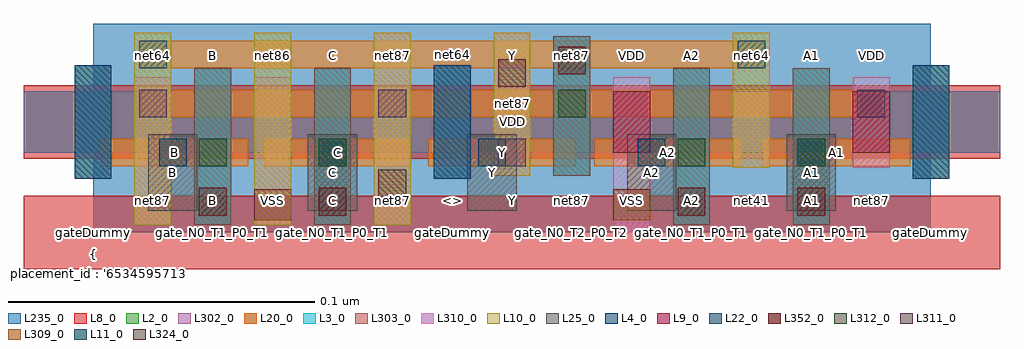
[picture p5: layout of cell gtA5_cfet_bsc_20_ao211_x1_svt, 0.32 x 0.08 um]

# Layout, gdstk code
import gdstk
lib = gdstk.Library(unit=1e-6, precision=2.5e-10)
def R(c, l, rs):  # rectangles x0, y0, x1, y1
    for r in rs: c.add(gdstk.rectangle(r[:2], r[2:], *l))
def A(c, l, x, y, w, h, nx, ny, dx, dy):  # array of equal rectangles
    R(c, l, [(x+i*dx, y+j*dy, x+i*dx+w, y+j*dy+h) for i in range(nx) for j in range(ny)])
L2_0 = (2, 0)
L3_0 = (3, 0)
L4_0 = (4, 0)
L8_0 = (8, 0)
L9_0 = (9, 0)
L10_0 = (10, 0)
L11_0 = (11, 0)
L20_0 = (20, 0)
L22_0 = (22, 0)
L25_0 = (25, 0)
L235_0 = (235, 0)
L302_0 = (302, 0)
L303_0 = (303, 0)
L309_0 = (309, 0)
L310_0 = (310, 0)
L311_0 = (311, 0)
L312_0 = (312, 0)
L324_0 = (324, 0)
L352_0 = (352, 0)

gta5_cfet_bsc_20_ao211_x = lib.new_cell('gtA5_cfet_bsc_20_ao211_x1_svt')
R(gta5_cfet_bsc_20_ao211_x, L2_0, [(-0.0225,0.026,0.2955,0.046)])
R(gta5_cfet_bsc_20_ao211_x, L3_0, [(0.033,0.0025,0.045,0.0535), (0.072,0.0025,0.084,0.0535), (0.189,0.0025,0.201,0.0535), (0.228,0.0025,0.24,0.0535), (-0.006,0.0175,0.006,0.0545), (0.111,0.0175,0.123,0.0545), (0.267,0.0175,0.279,0.0545), (0.15,0.0185,0.162,0.064)])
R(gta5_cfet_bsc_20_ao211_x, L4_0, [(-0.006,0.0175,0.006,0.0545), (0.111,0.0175,0.123,0.0545), (0.267,0.0175,0.279,0.0545)])
R(gta5_cfet_bsc_20_ao211_x, L8_0, [(-0.0225,-0.012,0.2955,0.012), (-0.0225,0.024,0.2955,0.048)])
R(gta5_cfet_bsc_20_ao211_x, L9_0, [(0.1695,0.026,0.1815,0.046), (0.2475,0.026,0.2595,0.046)])
A(gta5_cfet_bsc_20_ao211_x, L10_0, 0.0135, 0.0025, 0.012, 0.0625, 3, 1, 0.039, 0)
R(gta5_cfet_bsc_20_ao211_x, L10_0, [(0.1305,0.0185,0.1425,0.065), (0.2085,0.021,0.2205,0.065)])
R(gta5_cfet_bsc_20_ao211_x, L11_0, [(0.015,0.0535,0.024,0.0625), (0.21,0.0535,0.219,0.0625)])
R(gta5_cfet_bsc_20_ao211_x, L20_0, [(0.0025,0.0215,0.0505,0.0305), (0.0558,0.0215,0.1038,0.0305), (0.1092,0.0215,0.1573,0.0305), (0.1633,0.0215,0.2112,0.0305), (0.2182,0.0215,0.2662,0.0305), (0.015,0.0375,0.258,0.0465), (0.015,0.0535,0.219,0.0625)])
A(gta5_cfet_bsc_20_ao211_x, L22_0, 0.0215, 0.0215, 0.009, 0.009, 5, 1, 0.052, 0)
A(gta5_cfet_bsc_20_ao211_x, L25_0, 0.018, 0.007, 0.016, 0.025, 5, 1, 0.052, 0)
R(gta5_cfet_bsc_20_ao211_x, L235_0, [(0,0,0.273,0.068)])
R(gta5_cfet_bsc_20_ao211_x, L302_0, [(-0.0225,0.026,0.2955,0.046)])
R(gta5_cfet_bsc_20_ao211_x, L303_0, [(0.033,0.0025,0.045,0.0535), (0.072,0.0025,0.084,0.0535), (0.189,0.0025,0.201,0.0535), (0.228,0.0025,0.24,0.0535), (-0.006,0.0175,0.006,0.0545), (0.111,0.0175,0.123,0.0545), (0.267,0.0175,0.279,0.0545), (0.15,0.0185,0.162,0.064)])
R(gta5_cfet_bsc_20_ao211_x, L309_0, [(0.0525,0.004,0.0645,0.014), (0.1695,0.004,0.1815,0.014)])
R(gta5_cfet_bsc_20_ao211_x, L310_0, [(0.1695,0,0.1815,0.0505), (0.0135,0.0025,0.0255,0.0505), (0.0525,0.0025,0.0645,0.0505), (0.0915,0.0025,0.1035,0.065), (0.1305,0.0185,0.1425,0.065), (0.2085,0.021,0.2205,0.046), (0.2475,0.021,0.2595,0.0505)])
R(gta5_cfet_bsc_20_ao211_x, L311_0, [(0.132,0.0215,0.141,0.0305), (0.015,0.0375,0.024,0.0465), (0.093,0.0375,0.102,0.0465), (0.249,0.0375,0.258,0.0465)])
R(gta5_cfet_bsc_20_ao211_x, L312_0, [(0.0345,0.0215,0.0435,0.0305), (0.0735,0.0215,0.0825,0.0305), (0.1905,0.0215,0.1995,0.0305), (0.2295,0.0215,0.2385,0.0305), (0.1515,0.0375,0.1605,0.0465)])
R(gta5_cfet_bsc_20_ao211_x, L324_0, [(0.093,0.0115,0.102,0.0205), (0.132,0.0475,0.141,0.0565)])
R(gta5_cfet_bsc_20_ao211_x, L352_0, [(0.0345,0.0055,0.0435,0.0145), (0.0735,0.0055,0.0825,0.0145), (0.1905,0.0055,0.1995,0.0145), (0.2295,0.0055,0.2385,0.0145), (0.1515,0.0515,0.1605,0.0605)])
gta5_cfet_bsc_20_ao211_x.add(gdstk.Label('B', (0.0265,0.026), layer=100, texttype=100))
gta5_cfet_bsc_20_ao211_x.add(gdstk.Label('C', (0.0798,0.026), layer=100, texttype=100))
gta5_cfet_bsc_20_ao211_x.add(gdstk.Label('Y', (0.1333,0.026), layer=100, texttype=100))
gta5_cfet_bsc_20_ao211_x.add(gdstk.Label('A2', (0.1872,0.026), layer=100, texttype=100))
gta5_cfet_bsc_20_ao211_x.add(gdstk.Label('A1', (0.2422,0.026), layer=100, texttype=100))
gta5_cfet_bsc_20_ao211_x.add(gdstk.Label('net87', (0.1365,0.042), layer=100, texttype=100))
gta5_cfet_bsc_20_ao211_x.add(gdstk.Label('net64', (0.117,0.058), layer=100, texttype=100))
gta5_cfet_bsc_20_ao211_x.add(gdstk.Label('gateDummy', (0,0), layer=103, texttype=103))
gta5_cfet_bsc_20_ao211_x.add(gdstk.Label('sd_N0_T2_P0_T3', (0.0195,0), layer=103, texttype=103))
gta5_cfet_bsc_20_ao211_x.add(gdstk.Label('gate_N0_T1_P0_T1', (0.039,0), layer=103, texttype=103))
gta5_cfet_bsc_20_ao211_x.add(gdstk.Label('sd_N0_VSS', (0.0585,0), layer=103, texttype=103))
gta5_cfet_bsc_20_ao211_x.add(gdstk.Label('gate_N0_T1_P0_T1', (0.078,0), layer=103, texttype=103))
gta5_cfet_bsc_20_ao211_x.add(gdstk.Label('sd_N0_T2_P0_T2', (0.0975,0), layer=103, texttype=103))
gta5_cfet_bsc_20_ao211_x.add(gdstk.Label('gateDummy', (0.117,0), layer=103, texttype=103))
gta5_cfet_bsc_20_ao211_x.add(gdstk.Label('sd_N0_T1_P0_T1', (0.1365,0), layer=103, texttype=103))
gta5_cfet_bsc_20_ao211_x.add(gdstk.Label('gate_N0_T2_P0_T2', (0.156,0), layer=103, texttype=103))
gta5_cfet_bsc_20_ao211_x.add(gdstk.Label('sd_N0_VSS_P0_VDD', (0.1755,0), layer=103, texttype=103))
gta5_cfet_bsc_20_ao211_x.add(gdstk.Label('gate_N0_T1_P0_T1', (0.195,0), layer=103, texttype=103))
gta5_cfet_bsc_20_ao211_x.add(gdstk.Label('sd_N0_abut_P0_T3', (0.2145,0), layer=103, texttype=103))
gta5_cfet_bsc_20_ao211_x.add(gdstk.Label('gate_N0_T1_P0_T1', (0.234,0), layer=103, texttype=103))
gta5_cfet_bsc_20_ao211_x.add(gdstk.Label('sd_N0_T2_P0_VDD', (0.2535,0), layer=103, texttype=103))
gta5_cfet_bsc_20_ao211_x.add(gdstk.Label('gateDummy', (0.273,0), layer=103, texttype=103))
gta5_cfet_bsc_20_ao211_x.add(gdstk.Label('}', (0,-0.0742), layer=104, texttype=104))
gta5_cfet_bsc_20_ao211_x.add(gdstk.Label('  power : None', (0,-0.0675), layer=104, texttype=104))
gta5_cfet_bsc_20_ao211_x.add(gdstk.Label('  performance : None', (0,-0.0607), layer=104, texttype=104))
gta5_cfet_bsc_20_ao211_x.add(gdstk.Label("  solution_hash : '4297158945955525215'", (0,-0.054), layer=104, texttype=104))
gta5_cfet_bsc_20_ao211_x.add(gdstk.Label('  number_m2 : 0', (0,-0.0473), layer=104, texttype=104))
gta5_cfet_bsc_20_ao211_x.add(gdstk.Label('  number_m1 : 5', (0,-0.0405), layer=104, texttype=104))
gta5_cfet_bsc_20_ao211_x.add(gdstk.Label('  number_m0cuts : 0', (0,-0.0338), layer=104, texttype=104))
gta5_cfet_bsc_20_ao211_x.add(gdstk.Label('  number_m0 : 7', (0,-0.027), layer=104, texttype=104))
gta5_cfet_bsc_20_ao211_x.add(gdstk.Label("  solution_number : '0000'", (0,-0.0203), layer=104, texttype=104))
gta5_cfet_bsc_20_ao211_x.add(gdstk.Label("  placement_id : '6534595713075289968'", (0,-0.0135), layer=104, texttype=104))
gta5_cfet_bsc_20_ao211_x.add(gdstk.Label('{', (0,-0.0067), layer=104, texttype=104))
gta5_cfet_bsc_20_ao211_x.add(gdstk.Label('net87', (0.0195,0.0103), layer=105, texttype=105))
gta5_cfet_bsc_20_ao211_x.add(gdstk.Label('B', (0.039,0.0103), layer=105, texttype=105))
gta5_cfet_bsc_20_ao211_x.add(gdstk.Label('VSS', (0.0585,0.0103), layer=105, texttype=105))
gta5_cfet_bsc_20_ao211_x.add(gdstk.Label('C', (0.078,0.0103), layer=105, texttype=105))
gta5_cfet_bsc_20_ao211_x.add(gdstk.Label('net87', (0.0975,0.0103), layer=105, texttype=105))
gta5_cfet_bsc_20_ao211_x.add(gdstk.Label('<>', (0.117,0.0103), layer=105, texttype=105))
gta5_cfet_bsc_20_ao211_x.add(gdstk.Label('Y', (0.1365,0.0103), layer=105, texttype=105))
gta5_cfet_bsc_20_ao211_x.add(gdstk.Label('net87', (0.156,0.0103), layer=105, texttype=105))
gta5_cfet_bsc_20_ao211_x.add(gdstk.Label('VSS', (0.1755,0.0103), layer=105, texttype=105))
gta5_cfet_bsc_20_ao211_x.add(gdstk.Label('A2', (0.195,0.0103), layer=105, texttype=105))
gta5_cfet_bsc_20_ao211_x.add(gdstk.Label('net41', (0.2145,0.0103), layer=105, texttype=105))
gta5_cfet_bsc_20_ao211_x.add(gdstk.Label('A1', (0.234,0.0103), layer=105, texttype=105))
gta5_cfet_bsc_20_ao211_x.add(gdstk.Label('net87', (0.2535,0.0103), layer=105, texttype=105))
gta5_cfet_bsc_20_ao211_x.add(gdstk.Label('net64', (0.0195,0.0578), layer=105, texttype=105))
gta5_cfet_bsc_20_ao211_x.add(gdstk.Label('B', (0.039,0.0578), layer=105, texttype=105))
gta5_cfet_bsc_20_ao211_x.add(gdstk.Label('net86', (0.0585,0.0578), layer=105, texttype=105))
gta5_cfet_bsc_20_ao211_x.add(gdstk.Label('C', (0.078,0.0578), layer=105, texttype=105))
gta5_cfet_bsc_20_ao211_x.add(gdstk.Label('net87', (0.0975,0.0578), layer=105, texttype=105))
gta5_cfet_bsc_20_ao211_x.add(gdstk.Label('<>', (0.117,0.0578), layer=105, texttype=105))
gta5_cfet_bsc_20_ao211_x.add(gdstk.Label('Y', (0.1365,0.0578), layer=105, texttype=105))
gta5_cfet_bsc_20_ao211_x.add(gdstk.Label('net87', (0.156,0.0578), layer=105, texttype=105))
gta5_cfet_bsc_20_ao211_x.add(gdstk.Label('VDD', (0.1755,0.0578), layer=105, texttype=105))
gta5_cfet_bsc_20_ao211_x.add(gdstk.Label('A2', (0.195,0.0578), layer=105, texttype=105))
gta5_cfet_bsc_20_ao211_x.add(gdstk.Label('net64', (0.2145,0.0578), layer=105, texttype=105))
gta5_cfet_bsc_20_ao211_x.add(gdstk.Label('A1', (0.234,0.0578), layer=105, texttype=105))
gta5_cfet_bsc_20_ao211_x.add(gdstk.Label('VDD', (0.2535,0.0578), layer=105, texttype=105))
gta5_cfet_bsc_20_ao211_x.add(gdstk.Label('VSS', (0.1365,0), layer=8, texttype=0))
gta5_cfet_bsc_20_ao211_x.add(gdstk.Label('VDD', (0.1365,0.036), layer=8, texttype=0))
gta5_cfet_bsc_20_ao211_x.add(gdstk.Label('B', (0.026,0.0195), layer=25, texttype=0))
gta5_cfet_bsc_20_ao211_x.add(gdstk.Label('C', (0.078,0.0195), layer=25, texttype=0))
gta5_cfet_bsc_20_ao211_x.add(gdstk.Label('Y', (0.13,0.0195), layer=25, texttype=0))
gta5_cfet_bsc_20_ao211_x.add(gdstk.Label('A2', (0.182,0.0195), layer=25, texttype=0))
gta5_cfet_bsc_20_ao211_x.add(gdstk.Label('A1', (0.234,0.0195), layer=25, texttype=0))
gta5_cfet_bsc_20_ao211_x.add(gdstk.Label('gtA5_cfet_bsc_20nm_ao211_x1_rvt_0', (0,0), layer=235, texttype=0))

lib.write_gds('gtA5_cfet_bsc_20_ao211_x1_svt.gds')
